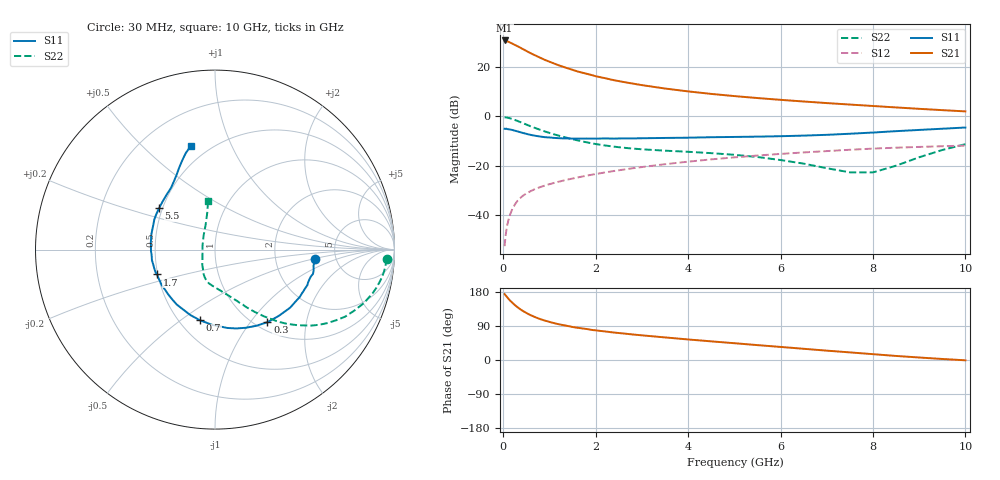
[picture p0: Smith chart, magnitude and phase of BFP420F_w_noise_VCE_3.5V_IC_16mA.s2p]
! Infineon Technologies  Discrete & RF Semiconductors
! BFP420F
! VCE =  3.5 V,  IC =  16 mA
! Common Emitter S-Parameters:  Sep 2011
# GHz  S  MA  R  50
!  f  S11  S21  S12  S22
! GHz  MAG  ANG  MAG  ANG  MAG  ANG  MAG  ANG
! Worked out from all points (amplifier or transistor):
!   54 points, 30 MHz to 10 GHz, reference 50 ohm
!   highest |S21| = 30.9 dB at 30 MHz (marker M1)
!   |S21| within 3 dB of that: start of sweep to 374.6 MHz
!   unconditionally stable (mu >= 1): 1.831 GHz to end of sweep
!   at 120 MHz: K = 0.29, MSG = 36.0 dB, |S12| = -41.7 dB
!   at 1.3 GHz: K = 0.86, MSG = 23.1 dB, |S12| = -26.1 dB
!   at 10 GHz: K = 1.25, MAG = 3.9 dB, |S12| = -11.9 dB
!   lowest NFmin = 1.40 dB at 450 MHz
!   S11 on the Smith chart (normalised r, x): 30 MHz: 3.45, -0.55; 300 MHz: 1.13, -1.22; 700 MHz: 0.63, -0.59; 1.7 GHz: 0.49, -0.16; 5.5 GHz: 0.48, +0.26; 10 GHz: 0.40, +0.71
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0.03  0.5605 -5.6  35 173.9  0.0023 73.5  0.9569 -3.0
0.05  0.5558 -9.2  34.4 170.6  0.0037 77.4  0.9549 -5.1
0.1  0.5499 -19.5  33.45 163.4  0.0069 79.7  0.9382 -10.4
0.15  0.5413 -28.9  31.71 156.6  0.0102 76.4  0.9123 -15.3
0.2  0.5291 -37.7  30.13 150.8  0.0133 74.7  0.882 -19.7
0.25  0.5124 -46.2  28.46 145.2  0.016 71.8  0.8478 -23.6
0.3  0.4987 -54.2  27.05 140.2  0.0188 69.9  0.8151 -27.3
0.4  0.4679 -68.6  24.04 131.4  0.0233 66.6  0.7467 -33.3
0.5  0.442 -81.0  21.43 124.2  0.0271 63.9  0.683 -38.3
0.6  0.4195 -92.2  19.14 117.9  0.0305 62.2  0.6252 -42.4
0.7  0.4028 -101.9  17.27 112.6  0.0337 60.9  0.5774 -45.8
0.8  0.3896 -110.6  15.59 107.9  0.0365 60.1  0.5335 -48.8
0.9  0.378 -118.0  14.12 104.0  0.0392 59.6  0.495 -51.2
1.1  0.3653 -130.9  11.9 97.3  0.0444 59.1  0.432 -55.8
1.4  0.3571 -145.6  9.486 89.7  0.0521 58.9  0.3635 -61.6
1.7  0.3526 -156.9  7.784 83.5  0.0597 58.6  0.3111 -66.8
2.4  0.3544 -174.9  5.434 72.4  0.0777 57.5  0.2427 -79.1
3.5  0.3648 166.4  3.691 59.6  0.1067 54.1  0.201 -94.6
5.5  0.3879 143.4  2.362 39.3  0.16 44.0  0.1495 -115.2
7  0.4222 125.5  1.866 24.7  0.1972 34.9  0.0885 -142.3
8.5  0.501 113.3  1.522 10.7  0.2312 24.8  0.0995 129.8
10  0.5941 103.0  1.264 -0.8  0.2552 15.6  0.2729 98.1
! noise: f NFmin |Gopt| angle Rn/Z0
0.45  1.4  0.11  177  0.19
0.9  1.41  0.12  171  0.13
1.9  1.53  0.22  -175  0.14
2.4  1.59  0.22  -173  0.12
3.5  1.84  0.26  -161  0.16
